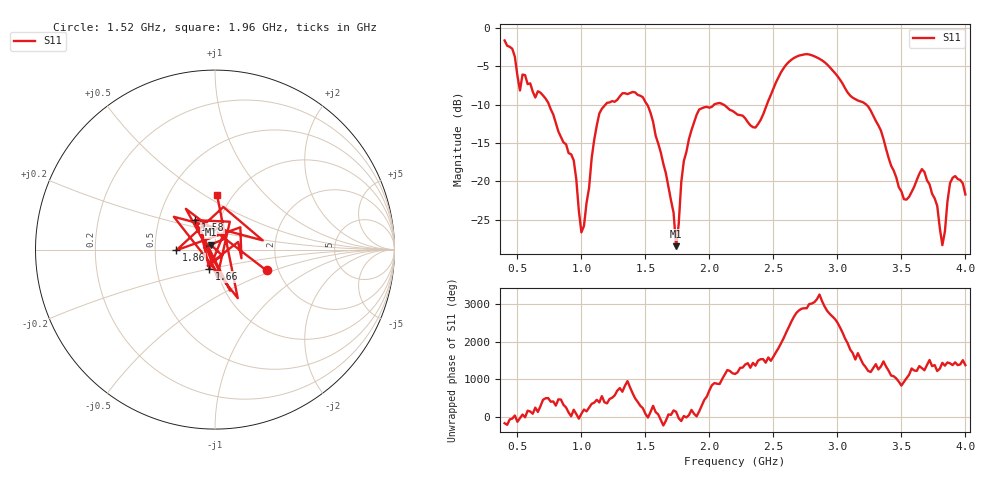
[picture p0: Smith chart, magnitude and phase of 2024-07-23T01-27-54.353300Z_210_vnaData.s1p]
!Created with skrf (http://scikit-rf.org).
# Hz S RI R 50.0
!freq ReS11 ImS11
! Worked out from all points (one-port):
!   181 points, 400 MHz to 4 GHz, reference 50 ohm
!   lowest |S11| = -28.5 dB at 1.74 GHz (marker M1), VSWR 1.08, Z = 47.5 + j2.69 ohm
!   |S11| at or under -10 dB: 746 MHz to 1.189 GHz (442.7 MHz wide, 45.8 % of centre); 1.513 GHz to 2.038 GHz (525 MHz wide, 29.6 % of centre); 3.224 GHz to end of sweep (the widest 3 of 4)
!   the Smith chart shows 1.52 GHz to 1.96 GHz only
!   S11 on the Smith chart (normalised r, x): 1.52 GHz: 1.73, -0.45; 1.58 GHz: 0.76, +0.26; 1.66 GHz: 0.92, -0.20; 1.86 GHz: 0.65, -0.01; 1.96 GHz: 0.85, +0.57
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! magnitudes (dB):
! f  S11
! 400 MHz  -1.7
! 480 MHz  -3.8
! 520 MHz  -8.2
! 700 MHz  -8.8
! 860 MHz  -14.9
! 940 MHz  -17.3
! 1 GHz  -26.7
! 1.14 GHz  -11.2
! 1.3 GHz  -8.9
! 1.52 GHz  -10.2
! 1.58 GHz  -14.0
! 1.66 GHz  -19.0
! 1.74 GHz  -28.5
! 1.76 GHz  -25.6
! 1.8 GHz  -17.4
! 1.86 GHz  -13.3
! 1.96 GHz  -10.4
! 2.2 GHz  -11.1
! 2.36 GHz  -13.0
! 2.66 GHz  -3.9
! 3.1 GHz  -8.8
! 3.26 GHz  -10.8
! 3.56 GHz  -22.0
! 3.68 GHz  -18.8
! 3.78 GHz  -23.2
! 3.82 GHz  -28.3
! 3.88 GHz  -20.2
! 4 GHz  -21.7
